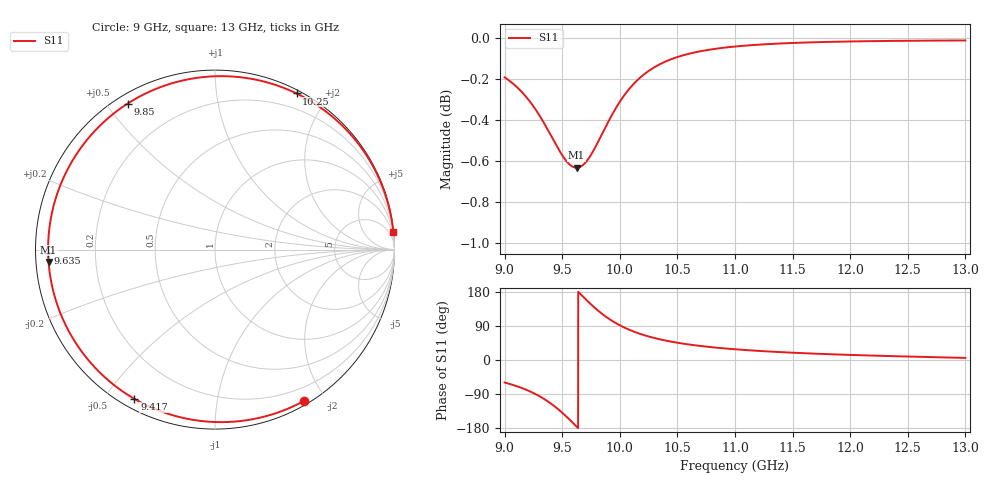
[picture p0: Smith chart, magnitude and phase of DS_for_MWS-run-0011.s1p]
! TOUCHSTONE file generated by CST DESIGN STUDIO
! Date and time: Tue Feb  4 12:49:10 2025
! Project name: C:\Work\MatlabApps\UnitCellOptimizationMatlab\CST\unitcell.cst
! Tree item: Tasks\Sweep1\SPara1\S-Parameters
! Header version: 2024
! Port assignment regex: !\s*Touchstone port\s*([0-9]+)\s*=\s*(CST MWS port|CST DES external port|CST DES block port)\s*(.+)\s* \(\"(.*)\"\)(\s*mode\s*([0-9]+))?.*
! Touchstone port assignment:
! Touchstone port 1 = CST DES external port 1 ("")
# GHz S MA R 50
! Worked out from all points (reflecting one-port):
!   4001 points, 9 GHz to 13 GHz, reference 50 ohm
!   lowest |S11| = -0.6 dB at 9.625 GHz (marker M1), VSWR 27.51, Z = 1.82 - j1.85 ohm
!   phase of S11 starts at -59 deg and turns -295 deg over the sweep
!   S11 on the Smith chart (normalised r, x): 9 GHz: 0.04, -1.75; 9.417 GHz: 0.04, -0.60; 9.635 GHz: 0.04, -0.01; 9.85 GHz: 0.04, +0.57; 10.25 GHz: 0.03, +1.65; 13 GHz: 0, +21
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9  0.9781 -59.5
9.104  0.9729 -68.9
9.209  0.9658 -81.3
9.27  0.9605 -90.2
9.324  0.9553 -99.3
9.372  0.9501 -108.6
9.417  0.9451 -118.3
9.459  0.9405 -128.4
9.5  0.9364 -139.1
9.566  0.9314 -157.9
9.625  0.9298 -175.7
9.635  0.9299 -178.8
9.68  0.9312 167.4
9.728  0.9346 153.1
9.79  0.9409 135.9
9.85  0.9481 120.9
9.92  0.9564 105.8
10  0.9648 91.6
10.118  0.9743 75.3
10.246  0.9814 62.4
10.364  0.9858 53.5
10.5  0.9893 45.6
10.72  0.9927 36.3
11  0.9951 28.3
11.5  0.9971 19.2
12  0.9979 13.4
12.5  0.9983 9.1
13  0.9985 5.5
